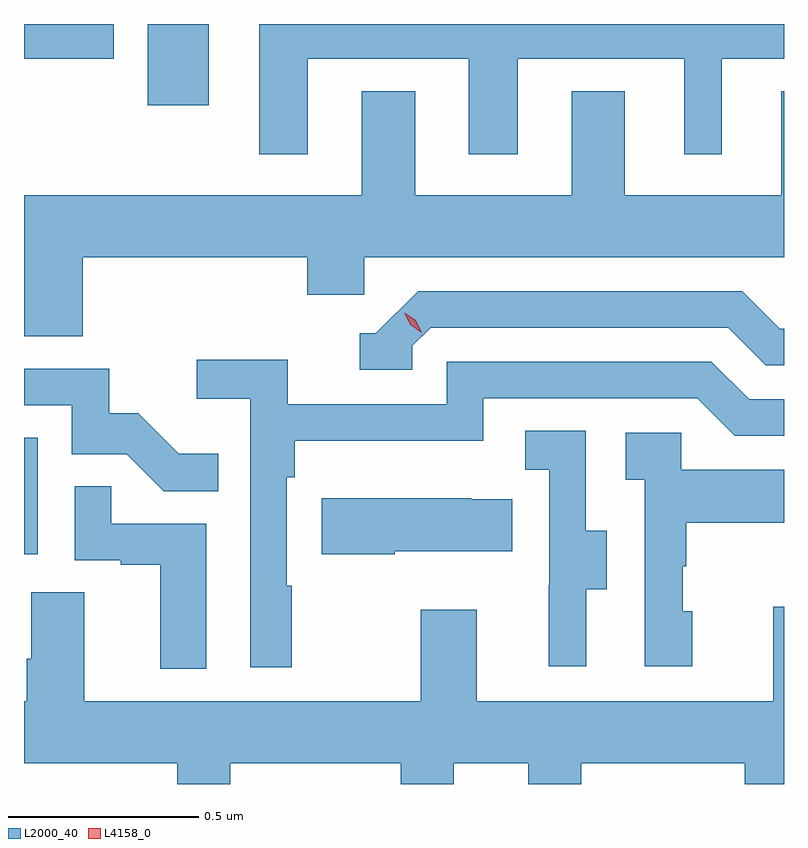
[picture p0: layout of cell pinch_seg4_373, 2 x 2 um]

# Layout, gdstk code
import gdstk
lib = gdstk.Library(unit=1e-6, precision=1e-09)
def R(c, l, rs):  # rectangles x0, y0, x1, y1
    for r in rs: c.add(gdstk.rectangle(r[:2], r[2:], *l))
def P(c, l, *ps):  # polygons
    for p in ps: c.add(gdstk.Polygon(p, *l))
L2000_40 = (2000, 40)
L4158_0 = (4158, 0)

pinch_seg4_373 = lib.new_cell('pinch_seg4_373')
R(pinch_seg4_373, L2000_40, [(962.428,796.038,962.464,796.345), (962.753,797.22,962.914,797.434), (962.428,797.343,962.664,797.434)])
P(pinch_seg4_373, L2000_40, [(963.175,797.342),(963.599,797.342),(963.599,797.091),(963.727,797.091),(963.727,797.342),(964.166,797.342),(964.166,797.091),(964.264,797.091),(964.264,797.342),(964.428,797.342),(964.428,797.434),(963.047,797.434),(963.047,797.091),(963.175,797.091)],
  [(964.428,797.257),(964.421,797.257),(964.421,796.984),(964.009,796.984),(964.009,797.257),(963.869,797.257),(963.869,796.984),(963.457,796.984),(963.457,797.257),(963.317,797.257),(963.317,796.984),(962.428,796.984),(962.428,796.612),(962.582,796.612),(962.582,796.82),(963.173,796.82),(963.173,796.722),(963.324,796.722),(963.324,796.82),(964.428,796.82)],
  [(963.45,796.587),(963.498,796.635),(964.281,796.635),(964.38,796.536),(964.428,796.536),(964.428,796.632),(964.417,796.632),(964.318,796.731),(963.465,796.731),(963.354,796.62),(963.311,796.62),(963.311,796.524),(963.45,796.524)],
  [(963.133,795.956),(963.12,795.956),(963.12,796.241),(963.14,796.241),(963.14,796.337),(963.636,796.337),(963.636,796.449),(964.2,796.449),(964.299,796.35),(964.428,796.35),(964.428,796.446),(964.336,796.446),(964.237,796.545),(963.54,796.545),(963.54,796.434),(963.122,796.434),(963.122,796.55),(962.883,796.55),(962.883,796.448),(963.024,796.448),(963.024,795.741),(963.133,795.741)],
  [(962.939,796.303),(962.835,796.303),(962.728,796.41),(962.652,796.41),(962.652,796.527),(962.428,796.527),(962.428,796.431),(962.553,796.431),(962.553,796.302),(962.698,796.302),(962.796,796.204),(962.939,796.204)],
  [(963.907,795.946),(963.961,795.946),(963.961,796.101),(963.906,796.101),(963.906,796.364),(963.747,796.364),(963.747,796.261),(963.81,796.261),(963.81,795.957),(963.809,795.957),(963.809,795.744),(963.907,795.744)],
  [(964.186,795.888),(964.161,795.888),(964.161,796.007),(964.171,796.007),(964.171,796.121),(964.428,796.121),(964.428,796.261),(964.158,796.261),(964.158,796.359),(964.011,796.359),(964.011,796.235),(964.062,796.235),(964.062,795.744),(964.186,795.744)],
  [(962.908,796.119),(962.657,796.119),(962.657,796.217),(962.562,796.217),(962.562,796.023),(962.683,796.023),(962.683,796.011),(962.786,796.011),(962.786,795.737),(962.908,795.737)],
  [(963.403,796.046),(963.713,796.046),(963.713,796.183),(963.605,796.183),(963.605,796.186),(963.212,796.186),(963.212,796.039),(963.403,796.039)],
  [(962.971,795.488),(963.419,795.488),(963.419,795.434),(963.559,795.434),(963.559,795.488),(963.755,795.488),(963.755,795.434),(963.895,795.434),(963.895,795.488),(964.325,795.488),(964.325,795.434),(964.428,795.434),(964.428,795.901),(964.4,795.901),(964.4,795.652),(963.619,795.652),(963.619,795.892),(963.472,795.892),(963.472,795.652),(962.587,795.652),(962.587,795.938),(962.447,795.938),(962.447,795.764),(962.435,795.764),(962.435,795.652),(962.428,795.652),(962.428,795.488),(962.831,795.488),(962.831,795.434),(962.971,795.434)])
P(pinch_seg4_373, L4158_0, [(963.475,796.622),(963.444,796.642),(963.428,796.674),(963.428,796.674),(963.429,796.674),(963.459,796.655),(963.475,796.623),(963.475,796.622)])

lib.write_gds('pinch_seg4_373.gds')
